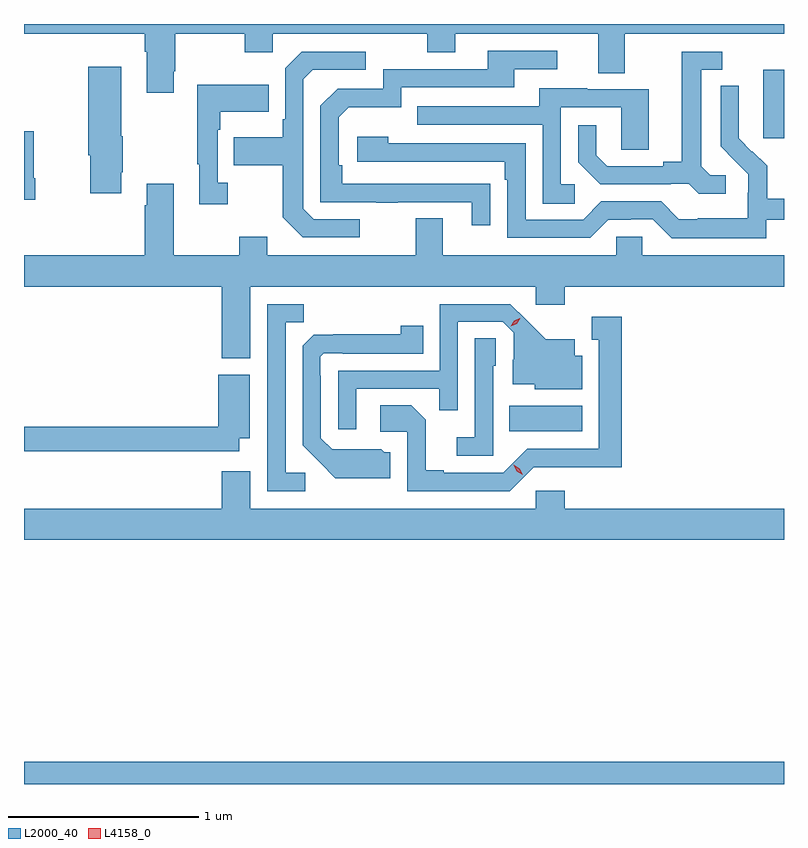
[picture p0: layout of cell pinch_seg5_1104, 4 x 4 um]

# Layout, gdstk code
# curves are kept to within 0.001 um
import gdstk
lib = gdstk.Library(unit=1e-6, precision=1e-09)
def R(c, l, rs):  # rectangles x0, y0, x1, y1
    for r in rs: c.add(gdstk.rectangle(r[:2], r[2:], *l))
def P(c, l, *ps):  # polygons
    for p in ps: c.add(gdstk.Polygon(p, *l))
L2000_40 = (2000, 40)
L4158_0 = (4158, 0)

pinch_seg5_1104 = lib.new_cell('pinch_seg5_1104')
R(pinch_seg5_1104, L2000_40, [(780.834,834.162,784.834,834.28), (783.388,836.018,783.772,836.152), (784.724,837.561,784.834,837.922)])
P(pinch_seg5_1104, L2000_40, [(780.834,838.112),(781.469,838.112),(781.469,838.016),(781.481,838.016),(781.481,837.801),(781.621,837.801),(781.621,837.913),(781.629,837.913),(781.629,838.112),(781.996,838.112),(781.996,838.013),(782.142,838.013),(782.142,838.112),(782.956,838.112),(782.956,838.013),(783.103,838.013),(783.103,838.112),(783.857,838.112),(783.857,837.904),(783.997,837.904),(783.997,838.112),(784.834,838.112),(784.834,838.162),(780.834,838.162)],
  [(783.287,837.32),(782.51,837.321),(782.51,837.418),(782.49,837.418),(782.49,837.672),(782.543,837.725),(782.82,837.725),(782.82,837.828),(783.415,837.828),(783.415,837.924),(783.64,837.924),(783.64,838.02),(783.275,838.02),(783.275,837.924),(782.724,837.924),(782.724,837.822),(782.484,837.822),(782.394,837.732),(782.394,837.225),(782.689,837.225),(782.689,837.22),(782.801,837.22),(782.801,837.225),(783.191,837.225),(783.191,837.102),(783.287,837.102)],
  [(784.528,837.366),(784.446,837.366),(784.399,837.413),(784.399,837.921),(784.51,837.921),(784.51,838.017),(784.295,838.017),(784.295,837.437),(784.199,837.437),(784.199,837.414),(783.904,837.414),(783.847,837.471),(783.847,837.628),(783.75,837.628),(783.75,837.434),(783.866,837.318),(784.238,837.318),(784.238,837.321),(784.332,837.321),(784.384,837.269),(784.528,837.269)],
  [(782.602,837.135),(782.358,837.135),(782.304,837.189),(782.304,837.87),(782.355,837.921),(782.632,837.921),(782.632,838.017),(782.295,838.017),(782.208,837.93),(782.208,837.661),(782.196,837.661),(782.196,837.565),(781.939,837.565),(781.939,837.418),(782.196,837.418),(782.196,837.145),(782.301,837.039),(782.602,837.039)],
  [(781.345,837.382),(781.353,837.382),(781.353,837.571),(781.345,837.571),(781.345,837.937),(781.172,837.937),(781.172,837.471),(781.183,837.471),(781.183,837.27),(781.345,837.27)],
  [(781.906,837.326),(781.854,837.326),(781.854,837.605),(781.867,837.605),(781.867,837.701),(782.123,837.701),(782.123,837.841),(781.746,837.841),(781.746,837.425),(781.757,837.425),(781.757,837.213),(781.906,837.213)],
  [(784.74,837.132),(784.834,837.132),(784.834,837.241),(784.745,837.241),(784.745,837.415),(784.668,837.492),(784.665,837.489),(784.595,837.56),(784.596,837.836),(784.5,837.836),(784.5,837.518),(784.646,837.37),(784.646,837.273),(784.644,837.273),(784.644,837.139),(784.381,837.139),(784.381,837.135),(784.281,837.135),(784.188,837.228),(783.873,837.228),(783.777,837.132),(783.474,837.132),(783.474,837.534),(782.75,837.534),(782.75,837.568),(782.589,837.568),(782.589,837.438),(783.365,837.438),(783.365,837.341),(783.378,837.341),(783.378,837.036),(783.813,837.036),(783.909,837.132),(784.028,837.132),(784.028,837.135),(784.143,837.135),(784.243,837.035),(784.74,837.035)],
  [(783.733,837.318),(783.66,837.318),(783.66,837.723),(783.978,837.723),(783.978,837.499),(784.123,837.499),(784.123,837.819),(783.799,837.819),(783.799,837.823),(783.545,837.823),(783.545,837.729),(782.905,837.729),(782.905,837.633),(783.564,837.633),(783.564,837.217),(783.733,837.217)],
  [(780.894,837.349),(780.886,837.349),(780.886,837.598),(780.834,837.598),(780.834,837.238),(780.894,837.238)],
  [(783.037,837.139),(782.897,837.139),(782.897,836.944),(782.113,836.944),(782.113,837.043),(781.966,837.043),(781.966,836.944),(781.621,836.944),(781.621,837.322),(781.481,837.322),(781.481,837.209),(781.469,837.209),(781.469,836.944),(780.834,836.944),(780.834,836.78),(781.874,836.78),(781.874,836.402),(782.026,836.402),(782.026,836.78),(783.528,836.78),(783.528,836.685),(783.68,836.685),(783.68,836.78),(784.834,836.78),(784.834,836.944),(784.089,836.944),(784.089,837.042),(783.951,837.042),(783.951,836.944),(783.037,836.944)],
  [(782.314,835.8),(782.211,835.8),(782.211,836.593),(782.307,836.593),(782.307,836.688),(782.115,836.688),(782.115,835.704),(782.314,835.704)],
  [(782.583,836.241),(783.019,836.241),(783.019,836.128),(783.117,836.128),(783.117,836.595),(783.354,836.595),(783.411,836.538),(783.411,836.396),(783.407,836.396),(783.407,836.267),(783.522,836.267),(783.522,836.24),(783.772,836.24),(783.772,836.416),(783.733,836.416),(783.733,836.503),(783.581,836.503),(783.394,836.688),(783.021,836.688),(783.021,836.337),(782.487,836.337),(782.487,836.028),(782.583,836.028)],
  [(783.516,835.83),(783.979,835.829),(783.979,836.62),(783.821,836.62),(783.821,836.499),(783.86,836.499),(783.86,835.926),(783.483,835.926),(783.357,835.8),(783.043,835.8),(783.043,835.813),(782.949,835.813),(782.949,836.08),(782.873,836.156),(782.709,836.156),(782.709,836.016),(782.85,836.016),(782.85,835.704),(783.39,835.704)],
  [(782.761,835.908),(782.73,835.908),(782.714,835.924),(782.457,835.923),(782.397,835.983),(782.397,836.312),(782.394,836.312),(782.394,836.412),(782.412,836.43),(782.512,836.43),(782.512,836.427),(782.936,836.427),(782.936,836.575),(782.818,836.575),(782.818,836.528),(782.36,836.527),(782.301,836.468),(782.301,835.946),(782.473,835.772),(782.761,835.772)],
  [(783.303,836.364),(783.318,836.364),(783.318,836.507),(783.207,836.507),(783.207,835.987),(783.111,835.987),(783.111,835.89),(783.303,835.89)],
  [(781.966,835.982),(782.023,835.982),(782.023,836.317),(781.856,836.317),(781.856,836.042),(780.834,836.042),(780.834,835.914),(781.966,835.914)],
  [(784.834,835.612),(783.68,835.612),(783.68,835.705),(783.528,835.705),(783.528,835.612),(782.026,835.612),(782.026,835.807),(781.874,835.807),(781.874,835.612),(780.834,835.612),(780.834,835.448),(784.834,835.448)])
P(pinch_seg5_1104, L4158_0, [(783.46,835.789),(783.428,835.808),(783.411,835.84),(783.411,835.841),(783.412,835.841),(783.443,835.821),(783.46,835.789),(783.46,835.789)],
  [(783.395,836.57),(783.395,836.57),(783.413,836.599),(783.444,836.614),(783.445,836.614),(783.445,836.614),(783.427,836.584),(783.396,836.57)])

lib.write_gds('pinch_seg5_1104.gds')
